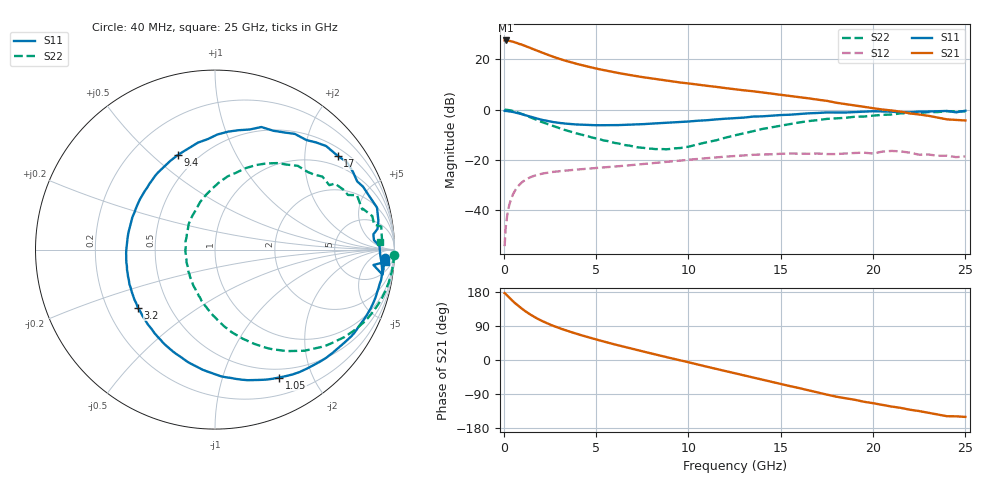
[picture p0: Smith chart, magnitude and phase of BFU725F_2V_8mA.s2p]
! Date/Time: Fri 23/May/2008 12:33:05
! BFU725F_2V8mA
! bias mode 1: Vout= 2.0006 V, Iout= 7.9980 mA, Vin= 0.7975 V, Iin= 0.0161 mA
! Date/time Tue May 06 16:22:22 2008
# MHz S MA R 50
!  Freq-MHz  S11-mag  S11-arg  S21-mag  S21-arg  S12-mag  S12-arg  S22-mag  S22-arg
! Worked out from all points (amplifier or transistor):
!   147 points, 40 MHz to 25 GHz, reference 50 ohm
!   highest |S21| = 27.5 dB at 100 MHz (marker M1)
!   |S21| within 3 dB of that: start of sweep to 1.437 GHz
!   unconditionally stable (mu >= 1): 6.209 GHz to 14.53 GHz
!   at 460 MHz: K = 0.10, MSG = 30.6 dB, |S12| = -34.2 dB
!   at 3.2 GHz: K = 0.60, MSG = 22.0 dB, |S12| = -24.3 dB
!   at 25 GHz: K = 0.37, MSG = 7.1 dB, |S12| = -18.5 dB
!   S11 on the Smith chart (normalised r, x): 40 MHz: 21, -19; 1.05 GHz: 0.40, -1.55; 3.2 GHz: 0.33, -0.30; 9.4 GHz: 0.39, +0.61; 17 GHz: 0.70, +2.80; 25 GHz: 13, -19
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40  0.9491 -2.7  23.73 176.5  0.001943 88.7  0.9984 -1.6
100  0.9456 -6.6  23.74 173.9  0.004627 85.5  0.9959 -4.6
280  0.9308 -18.5  23.38 165.4  0.01224 79.0  0.9795 -12.7
480  0.9035 -31.1  22.52 155.8  0.02021 71.7  0.9467 -21.3
550  0.8898 -35.2  22.01 152.4  0.02282 69.2  0.9331 -24.2
750  0.8551 -47.0  20.88 144.2  0.02952 62.5  0.8832 -32.1
1050  0.7971 -63.4  19.08 132.8  0.0378 54.1  0.8043 -42.4
1400  0.7306 -80.6  17.03 121.0  0.04489 46.2  0.7133 -52.5
1750  0.673 -95.8  15.12 110.9  0.04995 39.9  0.6317 -61.0
2050  0.6292 -107.3  13.66 103.3  0.05325 35.7  0.5704 -67.2
2600  0.575 -125.8  11.51 91.5  0.05768 29.6  0.4818 -76.9
3200  0.5382 -143.0  9.737 80.8  0.06096 25.2  0.4065 -86.0
4200  0.5029 -167.2  7.714 65.3  0.06582 19.9  0.3192 -99.7
5000  0.4918 176.5  6.577 54.1  0.06943 16.7  0.2677 -110.3
6000  0.4943 158.7  5.538 41.1  0.07423 13.3  0.2187 -126.0
8400  0.5373 124.1  3.977 12.4  0.08913 5.1  0.1652 -174.3
9400  0.566 111.6  3.535 0.8  0.09638 0.8  0.1717 159.6
11000  0.6176 93.6  2.982 -17.8  0.1089 -8.2  0.2262 124.0
13000  0.6965 73.9  2.427 -40.6  0.1235 -21.2  0.3388 92.8
17000  0.8603 37.3  1.582 -85.7  0.1345 -51.8  0.6209 49.7
21000  0.9127 7.3  0.9646 -122.8  0.1516 -79.3  0.801 22.3
25000  0.9535 -4.1  0.6105 -150.2  0.1182 -105.5  0.9194 2.5
